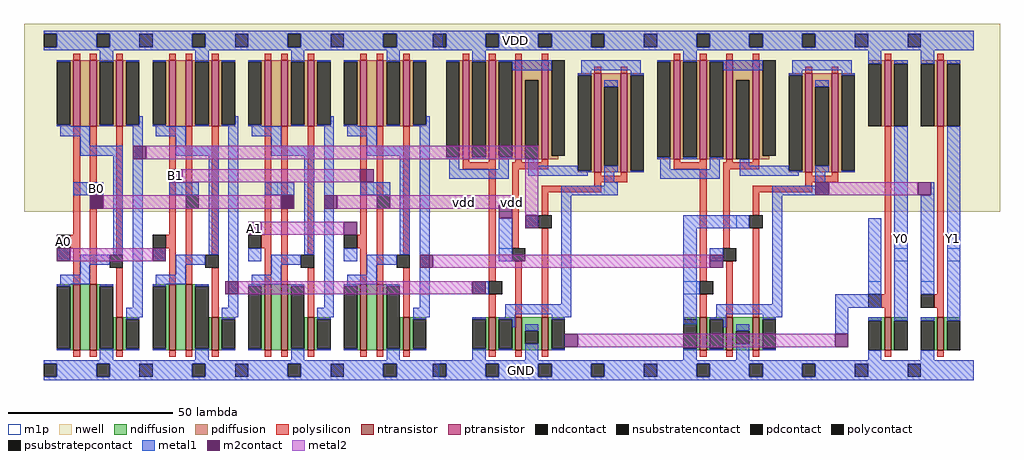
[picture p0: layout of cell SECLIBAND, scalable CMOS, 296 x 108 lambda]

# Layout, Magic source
magic
tech scmos
<< nwell >>
rect 9 56 15 60
<< metal1 >>
rect 275 56 276 60
rect 144 39 148 49
rect 200 46 220 50
rect 200 17 204 46
rect 272 29 276 56
rect 246 22 260 26
rect 246 14 250 22
<< m2contact >>
rect 33 67 37 71
rect 44 60 48 64
rect 102 60 106 64
rect 240 56 244 60
rect 271 56 275 60
rect 20 52 24 56
rect 78 52 82 56
rect 91 52 95 56
rect 144 49 148 53
rect 68 44 72 48
rect 97 44 101 48
rect 10 36 14 40
rect 39 36 43 40
rect 152 46 156 50
rect 120 34 124 38
rect 61 26 65 30
rect 136 26 140 30
rect 208 34 212 38
rect 164 10 168 14
rect 246 10 250 14
<< metal2 >>
rect 37 67 156 71
rect 48 60 102 64
rect 24 52 78 56
rect 95 53 148 56
rect 95 52 144 53
rect 152 50 156 67
rect 244 56 271 60
rect 72 44 97 48
rect 14 36 39 40
rect 124 34 208 38
rect 65 26 136 30
rect 168 10 246 14
use CELM2X1  CELM2X1_3
transform 1 0 95 0 1 3
box -8 -3 37 105
use CELM2X1  CELM2X1_2
transform 1 0 66 0 1 3
box -8 -3 37 105
use CELM2X1  CELM2X1_1
transform 1 0 37 0 1 3
box -8 -3 37 105
use CELM2X1  CELM2X1_0
transform 1 0 8 0 1 3
box -8 -3 37 105
use NOR3X1  NOR3X1_1
transform 1 0 190 0 1 3
box -7 -3 68 105
use NOR3X1  NOR3X1_0
transform 1 0 126 0 1 3
box -7 -3 68 105
use INVX1  INVX1_0
transform 1 0 254 0 1 3
box -9 -3 26 105
use INVX1  INVX1_1
transform 1 0 270 0 1 3
box -9 -3 26 105
<< labels >>
rlabel m2contact 46 62 46 62 1 B1
rlabel space 12 42 12 42 1 A0
rlabel space 22 58 22 58 1 B0
rlabel m2contact 70 46 70 46 1 A1
rlabel space 0 0 296 108 1 vdd
rlabel space 0 0 296 108 1 gnd
rlabel space 151 3 151 3 1 GND
rlabel space 149 103 149 103 1 VDD
rlabel space 266 43 266 43 1 Y0
rlabel space 282 43 282 43 1 Y1
rlabel space -29 0 296 108 1 vdd
rlabel space -29 0 296 108 1 gnd
<< end >>

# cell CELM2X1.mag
magic
tech scmos
magscale 1 2
<< nwell >>
rect -16 96 76 210
<< ntransistor >>
rect 14 12 18 52
rect 24 12 28 52
rect 40 12 44 32
<< ptransistor >>
rect 14 148 18 188
rect 24 148 28 188
rect 40 148 44 188
<< ndiffusion >>
rect 4 51 14 52
rect 12 13 14 51
rect 4 12 14 13
rect 18 12 24 52
rect 28 51 38 52
rect 28 13 30 51
rect 38 13 40 32
rect 28 12 40 13
rect 44 31 54 32
rect 44 13 46 31
rect 44 12 54 13
<< pdiffusion >>
rect 4 187 14 188
rect 12 149 14 187
rect 4 148 14 149
rect 18 148 24 188
rect 28 187 40 188
rect 28 149 30 187
rect 38 149 40 187
rect 28 148 40 149
rect 44 187 54 188
rect 44 149 46 187
rect 44 148 54 149
<< ndcontact >>
rect 4 13 12 51
rect 30 13 38 51
rect 46 13 54 31
<< pdcontact >>
rect 4 149 12 187
rect 30 149 38 187
rect 46 149 54 187
<< psubstratepcontact >>
rect -4 -4 4 4
rect 28 -4 36 4
<< nsubstratencontact >>
rect -4 196 4 204
rect 28 196 36 204
<< polysilicon >>
rect 14 188 18 192
rect 24 188 28 192
rect 40 188 44 192
rect 14 82 18 148
rect 12 74 18 82
rect 14 52 18 74
rect 24 106 28 148
rect 24 52 28 98
rect 40 70 44 148
rect 40 32 44 62
rect 14 8 18 12
rect 24 8 28 12
rect 40 8 44 12
<< polycontact >>
rect 4 74 12 82
rect 24 98 32 106
rect 36 62 44 70
<< metal1 >>
rect -4 204 64 206
rect 4 196 28 204
rect 36 196 64 204
rect -4 194 64 196
rect 4 187 12 188
rect 4 148 12 149
rect 30 187 38 194
rect 30 148 38 149
rect 46 187 54 188
rect 54 149 56 154
rect 46 148 56 149
rect 6 142 24 148
rect 18 136 24 142
rect 18 130 44 136
rect 14 106 32 114
rect 4 66 12 74
rect 38 70 44 130
rect 18 64 36 70
rect 18 58 24 64
rect 6 52 24 58
rect 4 51 12 52
rect 4 12 12 13
rect 30 51 38 52
rect 50 38 56 148
rect 30 6 38 13
rect 46 32 56 38
rect 46 31 54 32
rect 46 12 54 13
rect -4 4 62 6
rect 4 -4 28 4
rect 36 -4 62 4
rect -4 -6 62 -4
<< m1p >>
rect 14 106 22 114
rect 4 66 12 74
<< labels >>
rlabel metal1 8 200 8 200 4 vdd
port 5 se power bidirectional
rlabel metal1 8 0 8 0 4 gnd
port 4 se ground bidirectional
rlabel metal1 8 70 8 70 4 A
port 3 se signal input
rlabel ntransistor 44 22 44 22 1 D$
rlabel ntransistor 40 22 40 22 1 S$
rlabel ntransistor 28 22 28 22 1 S$
rlabel ntransistor 18 22 18 22 1 S$
rlabel ntransistor 24 22 24 22 1 D$
rlabel ntransistor 14 22 14 22 1 D$
rlabel metal1 18 110 18 110 4 B
port 1 se signal input
rlabel ptransistor 28 170 28 170 1 S$
rlabel ptransistor 24 170 24 170 1 D$
rlabel ptransistor 44 170 44 170 1 D$
rlabel ptransistor 40 170 40 170 1 S$
rlabel ptransistor 18 170 18 170 1 S$
rlabel ptransistor 14 170 14 170 1 D$
rlabel metal1 52 120 52 120 4 Y
port 2 se signal output
<< end >>

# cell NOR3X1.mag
magic
tech scmos
magscale 1 2
<< nwell >>
rect -14 96 136 210
<< ntransistor >>
rect 30 12 34 32
rect 46 12 50 32
rect 62 12 66 32
<< ptransistor >>
rect 14 128 18 188
rect 30 128 34 188
rect 46 128 50 188
rect 62 128 66 188
rect 94 120 98 180
rect 110 120 114 180
<< ndiffusion >>
rect 20 31 30 32
rect 28 13 30 31
rect 20 12 30 13
rect 34 31 46 32
rect 34 13 36 31
rect 44 13 46 31
rect 34 12 46 13
rect 50 24 62 32
rect 50 16 52 24
rect 60 16 62 24
rect 50 12 62 16
rect 66 31 76 32
rect 66 13 68 31
rect 66 12 76 13
<< pdiffusion >>
rect 4 187 14 188
rect 12 129 14 187
rect 4 128 14 129
rect 18 187 30 188
rect 18 129 20 187
rect 28 129 30 187
rect 18 128 30 129
rect 34 187 46 188
rect 34 129 36 187
rect 44 129 46 187
rect 34 128 46 129
rect 50 176 62 188
rect 50 128 52 176
rect 60 128 62 176
rect 66 130 68 188
rect 84 179 94 180
rect 66 128 72 130
rect 92 121 94 179
rect 84 120 94 121
rect 98 172 110 180
rect 98 124 100 172
rect 108 124 110 172
rect 98 120 110 124
rect 114 179 124 180
rect 114 121 116 179
rect 114 120 124 121
<< ndcontact >>
rect 20 13 28 31
rect 36 13 44 31
rect 52 16 60 24
rect 68 13 76 31
<< pdcontact >>
rect 4 129 12 187
rect 20 129 28 187
rect 36 129 44 187
rect 52 128 60 176
rect 68 130 76 188
rect 84 121 92 179
rect 100 124 108 172
rect 116 121 124 179
<< psubstratepcontact >>
rect -4 -4 4 4
rect 28 -4 36 4
rect 60 -4 68 4
rect 92 -4 100 4
<< nsubstratencontact >>
rect -4 196 4 204
rect 28 196 36 204
rect 60 196 68 204
rect 92 196 100 204
<< polysilicon >>
rect 14 188 18 192
rect 30 188 34 192
rect 46 188 50 192
rect 62 188 66 192
rect 94 180 98 184
rect 110 180 114 184
rect 14 126 18 128
rect 30 126 34 128
rect 46 126 50 128
rect 62 126 66 128
rect 14 122 34 126
rect 30 54 34 122
rect 44 122 66 126
rect 44 74 48 122
rect 94 118 98 120
rect 110 118 114 120
rect 94 114 114 118
rect 94 112 98 114
rect 62 108 98 112
rect 62 94 66 108
rect 30 32 34 46
rect 46 32 50 66
rect 62 32 66 86
rect 30 8 34 12
rect 46 8 50 12
rect 62 8 66 12
<< polycontact >>
rect 60 86 68 94
rect 44 66 52 74
rect 30 46 38 54
<< metal1 >>
rect -4 204 132 206
rect 4 196 28 204
rect 36 196 60 204
rect 68 196 92 204
rect 100 196 132 204
rect -4 194 132 196
rect 4 187 12 188
rect 4 128 12 129
rect 20 187 28 194
rect 20 128 28 129
rect 36 187 68 188
rect 44 182 68 187
rect 36 128 44 129
rect 86 182 122 188
rect 86 180 92 182
rect 84 179 92 180
rect 6 122 12 128
rect 36 122 42 128
rect 6 116 42 122
rect 54 124 60 128
rect 54 121 84 124
rect 116 180 122 182
rect 116 179 124 180
rect 54 120 92 121
rect 100 172 108 176
rect 100 120 108 124
rect 116 120 124 121
rect 54 118 90 120
rect 100 114 106 120
rect 100 112 108 114
rect 74 106 108 112
rect 52 86 60 94
rect 36 66 44 74
rect 20 46 30 54
rect 74 40 80 106
rect 40 34 80 40
rect 40 32 46 34
rect 20 31 28 32
rect 20 6 28 13
rect 36 31 46 32
rect 44 26 46 31
rect 68 32 80 34
rect 68 31 76 32
rect 36 12 44 13
rect 52 24 60 28
rect 52 6 60 16
rect 68 12 76 13
rect -4 4 132 6
rect 4 -4 28 4
rect 36 -4 60 4
rect 68 -4 92 4
rect 100 -4 132 4
rect -4 -6 132 -4
<< m1p >>
rect 100 106 108 114
rect 52 86 60 94
rect 36 66 44 74
rect 20 46 28 54
<< labels >>
rlabel metal1 8 200 8 200 4 vdd
port 2 se power bidirectional
rlabel metal1 8 0 8 0 4 gnd
port 1 se ground bidirectional
rlabel metal1 40 70 40 70 4 B
port 4 se signal input
rlabel metal1 56 90 56 90 4 C
port 5 se signal input
rlabel metal1 24 50 24 50 4 A
port 3 se signal input
rlabel metal1 104 110 104 110 4 Y
port 6 se signal output
<< end >>

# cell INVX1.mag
magic
tech scmos
<< nwell >>
rect -9 48 26 105
<< ntransistor >>
rect 7 6 9 16
<< ptransistor >>
rect 7 74 9 94
<< ndiffusion >>
rect 2 15 7 16
rect 6 6 7 15
rect 9 15 14 16
rect 9 6 10 15
<< pdiffusion >>
rect 2 93 7 94
rect 6 74 7 93
rect 9 93 14 94
rect 9 74 10 93
<< ndcontact >>
rect 2 6 6 15
rect 10 6 14 15
<< pdcontact >>
rect 2 74 6 93
rect 10 74 14 93
<< psubstratepcontact >>
rect -2 -2 2 2
<< nsubstratencontact >>
rect -2 98 2 102
<< polysilicon >>
rect 7 94 9 96
rect 7 23 9 74
rect 6 19 9 23
rect 7 16 9 19
rect 7 4 9 6
<< polycontact >>
rect 2 19 6 23
<< metal1 >>
rect -2 102 18 103
rect 2 98 18 102
rect -2 97 18 98
rect 2 93 6 97
rect 10 93 14 94
rect 2 23 6 46
rect 2 15 6 16
rect 10 15 14 74
rect 2 3 6 6
rect -2 2 18 3
rect 2 -2 18 2
rect -2 -3 18 -2
<< m1p >>
rect 10 33 14 37
rect 2 23 6 27
<< labels >>
rlabel metal1 4 25 4 25 4 A
port 3 se signal input
rlabel metal1 12 35 12 35 4 Y
port 4 se signal output
rlabel metal1 4 100 4 100 4 vdd
port 2 se power bidirectional
rlabel metal1 4 0 4 0 4 gnd
port 1 se ground bidirectional
<< end >>
